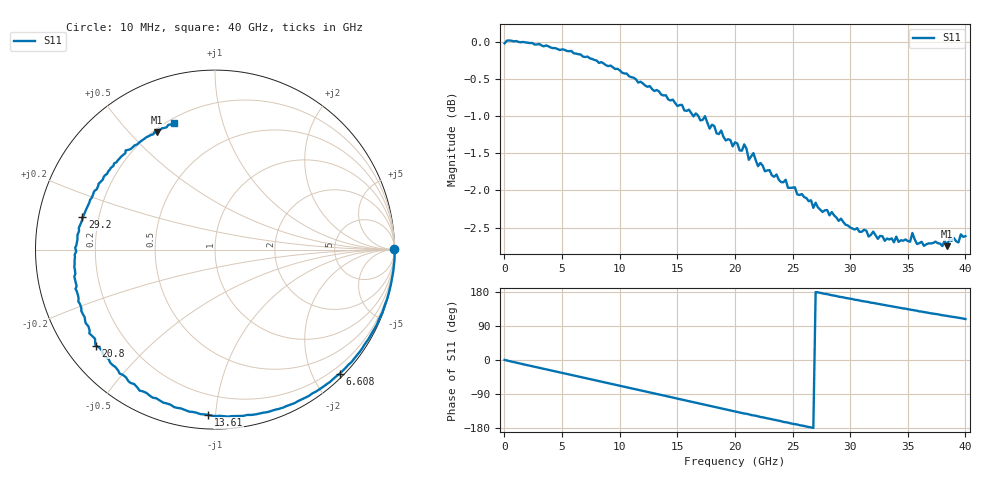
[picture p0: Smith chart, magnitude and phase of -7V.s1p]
!Agilent Technologies,N5227A,US51270434,A.10.00.00
!Agilent N5227A: A.10.00.00
!Date: Monday, January 26, 2026 17:21:49
!Correction: S11(Full 1 Port(1))
!S1P File: Measurement: S11:
# Hz S  dB  R 50
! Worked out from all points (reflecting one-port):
!   201 points, 10 MHz to 40 GHz, reference 50 ohm
!   lowest |S11| = -2.7 dB at 38.4 GHz (marker M1), VSWR 6.37, Z = 10.8 + j29.9 ohm
!   phase of S11 starts at 0 deg and turns -252 deg over the sweep
!   S11 on the Smith chart (normalised r, x): 10 MHz: open; 6.608 GHz: 0.07, -2.42; 13.61 GHz: 0.08, -0.96; 20.8 GHz: 0.09, -0.35; 29.2 GHz: 0.14, +0.12; 40 GHz: 0.23, +0.70
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1e7  -0.02 0.2
1.00975e9  0.01 -6.9
2.4094e9  -0.02 -16.4
3.6091e9  -0.05 -24.6
5.00875e9  -0.11 -34.0
6.60835e9  -0.17 -44.9
8.4079e9  -0.28 -57.1
1.00075e10  -0.39 -68.1
1.180705e10  -0.54 -80.3
1.36066e10  -0.71 -92.3
1.500625e10  -0.87 -102.1
1.540615e10  -0.85 -104.5
1.740565e10  -1.00 -118.2
2.0005e10  -1.35 -135.8
2.04049e10  -1.46 -138.1
2.08048e10  -1.38 -141.2
2.12047e10  -1.59 -143.4
2.16046e10  -1.50 -146.3
2.300425e10  -1.73 -155.4
2.500375e10  -1.96 -168.3
2.700325e10  -2.17 179.2
2.92027e10  -2.38 166.2
3.00025e10  -2.50 161.6
3.2002e10  -2.55 150.6
3.500125e10  -2.68 134.0
3.740065e10  -2.69 121.2
3.84004e10  -2.75 116.4
4e10  -2.61 108.2
